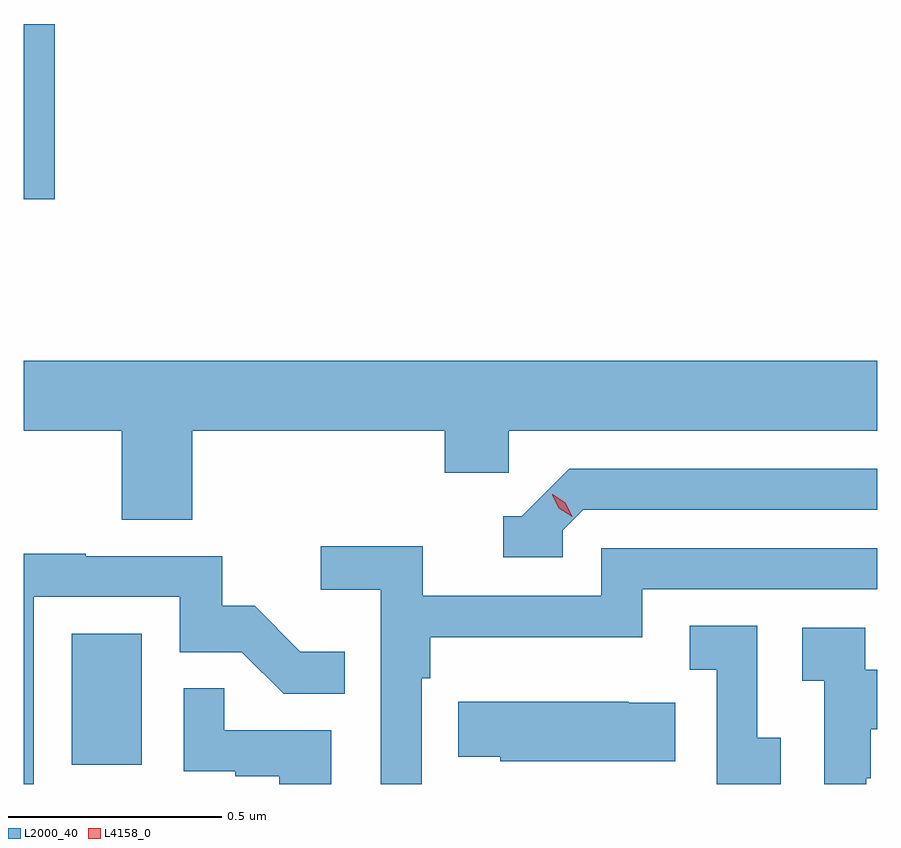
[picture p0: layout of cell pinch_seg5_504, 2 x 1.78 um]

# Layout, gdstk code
import gdstk
lib = gdstk.Library(unit=1e-6, precision=1e-09)
def R(c, l, rs):  # rectangles x0, y0, x1, y1
    for r in rs: c.add(gdstk.rectangle(r[:2], r[2:], *l))
def P(c, l, *ps):  # polygons
    for p in ps: c.add(gdstk.Polygon(p, *l))
L2000_40 = (2000, 40)
L4158_0 = (4158, 0)

pinch_seg5_504 = lib.new_cell('pinch_seg5_504')
R(pinch_seg5_504, L2000_40, [(905.024,849.318,905.188,849.625), (904.911,850.643,904.984,851.053)])
P(pinch_seg5_504, L2000_40, [(905.306,850.1),(905.897,850.1),(905.897,850.002),(906.048,850.002),(906.048,850.1),(906.911,850.1),(906.911,850.264),(904.911,850.264),(904.911,850.1),(905.141,850.1),(905.141,849.892),(905.306,849.892)],
  [(906.174,849.867),(906.222,849.915),(906.911,849.915),(906.911,850.011),(906.189,850.011),(906.078,849.9),(906.035,849.9),(906.035,849.804),(906.174,849.804)],
  [(905.844,849.521),(905.864,849.521),(905.864,849.617),(906.36,849.617),(906.36,849.729),(906.911,849.729),(906.911,849.825),(906.264,849.825),(906.264,849.714),(905.846,849.714),(905.846,849.83),(905.607,849.83),(905.607,849.728),(905.748,849.728),(905.748,849.273),(905.844,849.273)],
  [(904.935,849.711),(905.277,849.711),(905.277,849.582),(905.422,849.582),(905.52,849.484),(905.663,849.484),(905.663,849.583),(905.559,849.583),(905.452,849.69),(905.376,849.69),(905.376,849.807),(905.057,849.807),(905.057,849.812),(904.911,849.812),(904.911,849.273),(904.935,849.273)],
  [(906.685,849.381),(906.63,849.381),(906.63,849.644),(906.471,849.644),(906.471,849.541),(906.534,849.541),(906.534,849.273),(906.685,849.273)],
  [(906.885,849.287),(906.895,849.287),(906.895,849.401),(906.911,849.401),(906.911,849.541),(906.882,849.541),(906.882,849.639),(906.735,849.639),(906.735,849.515),(906.786,849.515),(906.786,849.273),(906.885,849.273)],
  [(905.632,849.399),(905.381,849.399),(905.381,849.497),(905.286,849.497),(905.286,849.303),(905.407,849.303),(905.407,849.291),(905.51,849.291),(905.51,849.273),(905.632,849.273)],
  [(906.437,849.463),(906.329,849.463),(906.329,849.466),(905.929,849.466),(905.929,849.337),(906.027,849.337),(906.027,849.326),(906.437,849.326)])
P(pinch_seg5_504, L4158_0, [(906.196,849.899),(906.165,849.919),(906.149,849.951),(906.149,849.952),(906.15,849.952),(906.18,849.932),(906.196,849.9),(906.196,849.899)])

lib.write_gds('pinch_seg5_504.gds')
